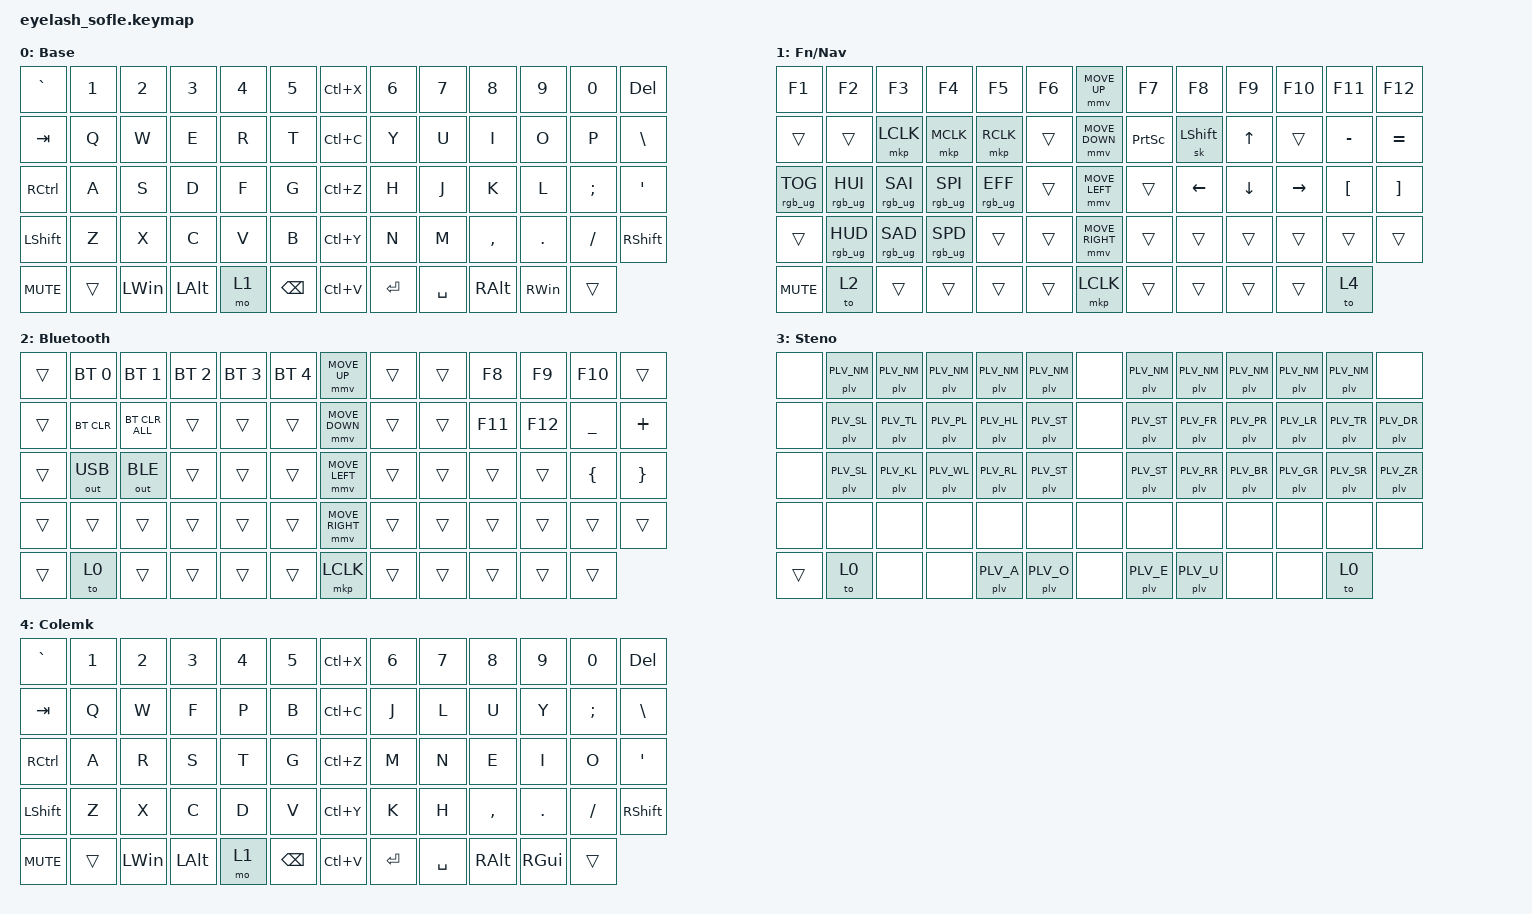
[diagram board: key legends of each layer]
#define ZMK_POINTING_DEFAULT_MOVE_VAL 1200  // 600
#define ZMK_POINTING_DEFAULT_SCRL_VAL 25   // 10

#include <input/processors.dtsi>
#include <zephyr/dt-bindings/input/input-event-codes.h>
#include <dt-bindings/zmk/hid-io/plover_hid.h>
#include <behaviors.dtsi>
#include <dt-bindings/zmk/bt.h>
#include <dt-bindings/zmk/keys.h>
#include <dt-bindings/zmk/outputs.h>
#include <dt-bindings/zmk/pointing.h>
#include <dt-bindings/zmk/rgb.h>

&mmv_input_listener { input-processors = <&zip_xy_scaler 2 1>; };

&msc_input_listener { input-processors = <&zip_scroll_scaler 2 1>; };

&msc {
    acceleration-exponent = <1>;      // 0
    time-to-max-speed-ms = <100>;       // 300
    delay-ms = <0>;                   // 0
};

&mmv {
    time-to-max-speed-ms = <500>;
    acceleration-exponent = <1>;
    trigger-period-ms = <16>;
};

&soft_off { hold-time-ms = <2000>; };

/* --- Haptic feedback smoke test: badjeff/zmk-output-behavior-listener ---
 * Forces the module's C to compile against the pinned ZMK v0.3.0 (via
 * dt_compat auto-enable). gpio0.4 is a placeholder pin (compile-only;
 * not validated as physically free). Remove if build fails / when done. */
#define OUTPUT_SOURCE_KEYCODE_STATE_CHANGE 3

/ {
    erm0: output_generic_0 {
        compatible = "zmk,output-generic";
        #binding-cells = <0>;
        control-gpios = <&gpio0 4 GPIO_ACTIVE_HIGH>;
    };

    ob_erm0_in: ob_generic_erm0_in {
        compatible = "zmk,output-behavior-generic";
        #binding-cells = <0>;
        device = <&erm0>;
        delay = <1>;
        time-to-live-ms = <30>;
    };

    erm0_obl {
        compatible = "zmk,output-behavior-listener";
        layers = <0>;
        sources = <OUTPUT_SOURCE_KEYCODE_STATE_CHANGE>;
        bindings = <&ob_erm0_in>;
    };
};

&mt {
    flavor = "tap-unless-interrupted";
    tapping-term-ms = <140>;
};

/ {
    behaviors {
        // Plover HID steno key. Arg = key index, use PLV_* macros.
        // e.g. &plv PLV_SL  &plv PLV_TL  &plv PLV_A  &plv PLV_NM

        plv: plover_hid {
            compatible = "zmk,behavior-plover-hid";
            #binding-cells = <1>;
        };
    };

    behaviors {
    };

    combos {
        compatible = "zmk,combos";

        kp_cut {
            bindings = <&kp LC(X)>;
            key-positions = <40 41>;
            layers = <0 1 4>;
        };

        kp_copy {
            bindings = <&kp LC(C)>;
            key-positions = <42 41>;
            layers = <0 1 4>;
        };

        kp_paste {
            bindings = <&kp LC(V)>;
            key-positions = <43 44>;
            layers = <0 4 1>;
        };

        kp_esc {
            bindings = <&kp ESCAPE>;
            key-positions = <0 13>;
            layers = <0 4 1>;
        };

        kp_caps {
            bindings = <&kp CAPSLOCK>;
            key-positions = <39 51>;
            layers = <0 4>;
        };

        to_stno {
            bindings = <&to 3>;
            key-positions = <28 46 18 23>;
            layers = <0 4>;
        };
    };

    keymap {
        compatible = "zmk,keymap";

        layer0 {
            bindings = <
&kp GRAVE       &kp N1  &kp N2    &kp N3    &kp N4  &kp N5           &kp LC(X)  &kp N6     &kp N7     &kp N8         &kp N9    &kp N0    &kp DELETE
&kp TAB         &kp Q   &kp W     &kp E     &kp R   &kp T            &kp LC(C)  &kp Y      &kp U      &kp I          &kp O     &kp P     &kp BSLH
&kp RCTRL       &kp A   &kp S     &kp D     &kp F   &kp G            &kp LC(Z)  &kp H      &kp J      &kp K          &kp L     &kp SEMI  &kp APOS
&kp LEFT_SHIFT  &kp Z   &kp X     &kp C     &kp V   &kp B            &kp LC(Y)  &kp N      &kp M      &kp COMMA      &kp DOT   &kp FSLH  &kp RIGHT_SHIFT
&kp C_MUTE      &trans  &kp LWIN  &kp LALT  &mo 1   &kp BACKSPACE    &kp LC(V)  &kp ENTER  &kp SPACE  &kp RIGHT_ALT  &kp RWIN  &trans
            >;

            display-name = "Base";
        };

        layer1 {
            bindings = <
&kp F1           &kp F2           &kp F3           &kp F4           &kp F5           &kp F6    &mmv MOVE_UP     &kp F7           &kp F8          &kp F9    &kp F10    &kp F11           &kp F12
&trans           &trans           &mkp LCLK        &mkp MCLK        &mkp RCLK        &trans    &mmv MOVE_DOWN   &kp PRINTSCREEN  &sk LEFT_SHIFT  &kp UP    &trans     &kp MINUS         &kp EQUAL
&rgb_ug RGB_TOG  &rgb_ug RGB_HUI  &rgb_ug RGB_SAI  &rgb_ug RGB_SPI  &rgb_ug RGB_EFF  &trans    &mmv MOVE_LEFT   &trans           &kp LEFT        &kp DOWN  &kp RIGHT  &kp LEFT_BRACKET  &kp RIGHT_BRACKET
&trans           &rgb_ug RGB_HUD  &rgb_ug RGB_SAD  &rgb_ug RGB_SPD  &trans           &trans    &mmv MOVE_RIGHT  &trans           &trans          &trans    &trans     &trans            &trans
&kp C_MUTE       &to 2            &trans           &trans           &trans           &trans    &mkp LCLK        &trans           &trans          &trans    &trans     &to 4
            >;

            display-name = "Fn/Nav";
        };

        layer2 {
            bindings = <
&trans  &bt BT_SEL 0  &bt BT_SEL 1    &bt BT_SEL 2  &bt BT_SEL 3  &bt BT_SEL 4    &mmv MOVE_UP     &trans  &trans  &kp F8   &kp F9   &kp F10    &trans
&trans  &bt BT_CLR    &bt BT_CLR_ALL  &trans        &trans        &trans          &mmv MOVE_DOWN   &trans  &trans  &kp F11  &kp F12  &kp UNDER  &kp PLUS
&trans  &out OUT_USB  &out OUT_BLE    &trans        &trans        &trans          &mmv MOVE_LEFT   &trans  &trans  &trans   &trans   &kp LBRC   &kp RBRC
&trans  &trans        &trans          &trans        &trans        &trans          &mmv MOVE_RIGHT  &trans  &trans  &trans   &trans   &trans     &trans
&trans  &to 0         &trans          &trans        &trans        &trans          &mkp LCLK        &trans  &trans  &trans   &trans   &trans
            >;

            display-name = "Bluetooth";
        };

        // Plover steno. Enter with &to 3 (base left thumb), exit with &to 0.
        // Layout (standard English stenotype):
        //   #  #  #  #  #       #  #  #  #  #
        //   S- T- P- H- *       *  -F -P -L -T -D
        //   S- K- W- R- *       *  -R -B -G -S -Z
        //            A- O-    -E -U

        layer3 {
            bindings = <
&none   &plv PLV_NM  &plv PLV_NM  &plv PLV_NM  &plv PLV_NM  &plv PLV_NM    &none  &plv PLV_NM  &plv PLV_NM  &plv PLV_NM  &plv PLV_NM  &plv PLV_NM  &none
&none   &plv PLV_SL  &plv PLV_TL  &plv PLV_PL  &plv PLV_HL  &plv PLV_ST    &none  &plv PLV_ST  &plv PLV_FR  &plv PLV_PR  &plv PLV_LR  &plv PLV_TR  &plv PLV_DR
&none   &plv PLV_SL  &plv PLV_KL  &plv PLV_WL  &plv PLV_RL  &plv PLV_ST    &none  &plv PLV_ST  &plv PLV_RR  &plv PLV_BR  &plv PLV_GR  &plv PLV_SR  &plv PLV_ZR
&none   &none        &none        &none        &none        &none          &none  &none        &none        &none        &none        &none        &none
&trans  &to 0        &none        &none        &plv PLV_A   &plv PLV_O     &none  &plv PLV_E   &plv PLV_U   &none        &none        &to 0
            >;

            display-name = "Steno";
        };

        layer4 {
            display-name = "Colemk";
            bindings = <
&kp GRAVE       &kp N1  &kp N2    &kp N3    &kp N4  &kp N5           &kp LC(X)  &kp N6     &kp N7     &kp N8         &kp N9    &kp N0         &kp DELETE
&kp TAB         &kp Q   &kp W     &kp F     &kp P   &kp B            &kp LC(C)  &kp J      &kp L      &kp U          &kp Y     &kp SEMICOLON  &kp BSLH
&kp RCTRL       &kp A   &kp R     &kp S     &kp T   &kp G            &kp LC(Z)  &kp M      &kp N      &kp E          &kp I     &kp O          &kp APOS
&kp LEFT_SHIFT  &kp Z   &kp X     &kp C     &kp D   &kp V            &kp LC(Y)  &kp K      &kp H      &kp COMMA      &kp DOT   &kp FSLH       &kp RIGHT_SHIFT
&kp C_MUTE      &trans  &kp LWIN  &kp LALT  &mo 1   &kp BACKSPACE    &kp LC(V)  &kp ENTER  &kp SPACE  &kp RIGHT_ALT  &kp RGUI  &trans
            >;
        };
    };
};
